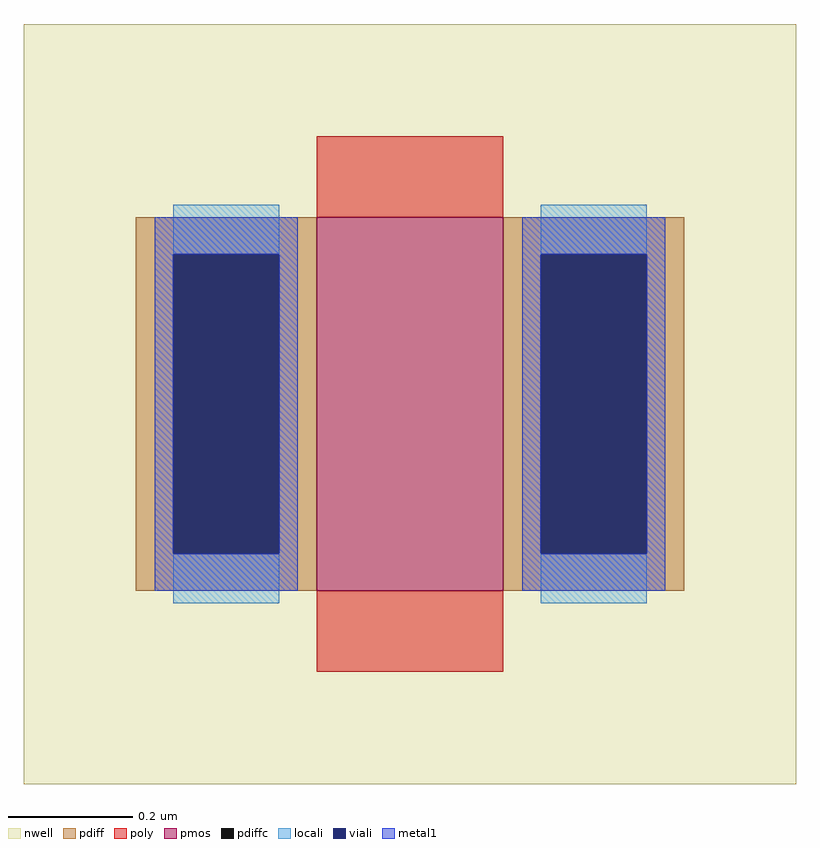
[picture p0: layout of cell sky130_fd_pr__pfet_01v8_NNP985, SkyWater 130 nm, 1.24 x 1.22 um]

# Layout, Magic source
magic
tech sky130A
<< nwell >>
rect -62 -61 62 61
<< pmos >>
rect -15 -30 15 30
<< pdiff >>
rect -44 24 -15 30
rect -44 -24 -38 24
rect -21 -24 -15 24
rect -44 -30 -15 -24
rect 15 24 44 30
rect 15 -24 21 24
rect 38 -24 44 24
rect 15 -30 44 -24
<< pdiffc >>
rect -38 -24 -21 24
rect 21 -24 38 24
<< poly >>
rect -15 30 15 43
rect -15 -43 15 -30
<< locali >>
rect -38 24 -21 32
rect -38 -32 -21 -24
rect 21 24 38 32
rect 21 -32 38 -24
<< viali >>
rect -38 -24 -21 24
rect 21 -24 38 24
<< metal1 >>
rect -41 24 -18 30
rect -41 -24 -38 24
rect -21 -24 -18 24
rect -41 -30 -18 -24
rect 18 24 41 30
rect 18 -24 21 24
rect 38 -24 41 24
rect 18 -30 41 -24
<< properties >>
string gencell sky130_fd_pr__pfet_01v8
string library sky130
string parameters w 0.6 l 0.3 m 1 nf 1 diffcov 100 polycov 100 guard 0 glc 1 grc 1 gtc 1 gbc 1 tbcov 100 rlcov 100 topc 0 botc 0 poverlap 0 doverlap 1 lmin 0.15 wmin 0.42 compatible {sky130_fd_pr__pfet_01v8  sky130_fd_pr__pfet_01v8_lvt sky130_fd_pr__pfet_01v8_hvt  sky130_fd_pr__pfet_g5v0d10v5} full_metal 1 viasrc 100 viadrn 100 viagate 100 viagb 0 viagr 0 viagl 0 viagt 0
<< end >>
